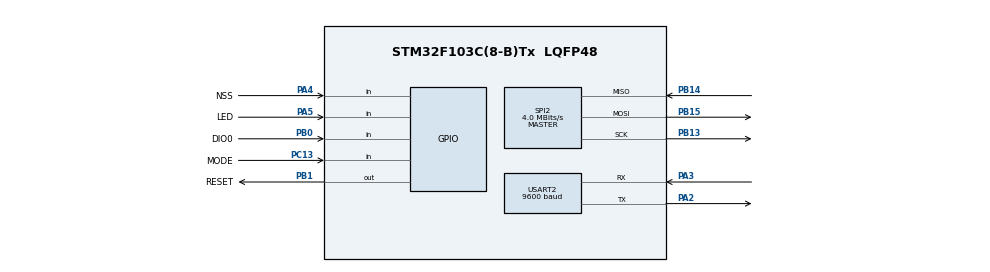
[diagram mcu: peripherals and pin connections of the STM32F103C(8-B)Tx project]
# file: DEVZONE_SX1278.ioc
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Mcu.Family=STM32F1
Mcu.Name=STM32F103C(8-B)Tx
Mcu.Package=LQFP48
NVIC.PriorityGroup=NVIC_PRIORITYGROUP_4
PA13.Mode=Serial_Wire
PA13.Signal=SYS_JTMS-SWDIO
PA14.Mode=Serial_Wire
PA14.Signal=SYS_JTCK-SWCLK
PA2.Mode=Asynchronous
PA2.Signal=USART2_TX
PA3.Mode=Asynchronous
PA3.Signal=USART2_RX
PA4.GPIO_Label=NSS
PA4.Signal=GPIO_Input
PA5.GPIO_Label=LED
PA5.Signal=GPIO_Input
PB0.GPIO_Label=DIO0
PB0.Signal=GPIO_Input
PB1.GPIO_Label=RESET
PB1.Signal=GPIO_Output
PB13.Mode=Full_Duplex_Master
PB13.Signal=SPI2_SCK
PB14.Mode=Full_Duplex_Master
PB14.Signal=SPI2_MISO
PB15.Mode=Full_Duplex_Master
PB15.Signal=SPI2_MOSI
PC13-TAMPER-RTC.GPIO_Label=MODE
PC13-TAMPER-RTC.Signal=GPIO_Input
ProjectManager.HeapSize=0x200
ProjectManager.StackSize=0x400
ProjectManager.TargetToolchain=STM32CubeIDE
RCC.APB1Freq_Value=8000000
RCC.APB2Freq_Value=8000000
SPI2.CalculateBaudRate=4.0 MBits/s
SPI2.Direction=SPI_DIRECTION_2LINES
SPI2.Mode=SPI_MODE_MASTER
SPI2.VirtualType=VM_MASTER
USART2.BaudRate=9600
USART2.VirtualMode=VM_ASYNC
board=custom

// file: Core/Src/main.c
/* USER CODE BEGIN Header */
/**
 ******************************************************************************
 * @file           : main.c
 * @brief          : Main program body
 ******************************************************************************
 * @attention
 *
 * <h2><center>&copy; Copyright (c) 2020 STMicroelectronics.
 * All rights reserved.</center></h2>
 *
 * This software component is licensed by ST under BSD 3-Clause license,
 * the "License"; You may not use this file except in compliance with the
 * License. You may obtain a copy of the License at:
 *                        opensource.org/licenses/BSD-3-Clause
 *
 ******************************************************************************
 */
/* USER CODE END Header */
#include "main.h"

/* USER CODE BEGIN Includes */

#include <stdio.h>
#include "SX1278.h"
#include "string.h"
#include "stdlib.h"

/* USER CODE END Includes */

SPI_HandleTypeDef hspi2;

UART_HandleTypeDef huart2;

/* USER CODE BEGIN PV */
/* Private variables ---------------------------------------------------------*/

/* USER CODE END PV */

void SystemClock_Config(void);
static void MX_GPIO_Init(void);
static void MX_USART2_UART_Init(void);
static void MX_SPI2_Init(void);
/* USER CODE BEGIN PFP */
/* Private function prototypes -----------------------------------------------*/

int _write(int file, char *ptr, int len) {
	int i;
	HAL_UART_Transmit(&huart2, (uint8_t*) ptr, len, 50);
	for (i = 0; i < len; i++) {
		ITM_SendChar(*ptr++);
	}
	return len;
}

/* USER CODE END PFP */

/* USER CODE BEGIN 0 */

SX1278_hw_t SX1278_hw;
SX1278_t SX1278;

int32_t master;
int32_t ret;

uint8_t buffer[512];

int32_t message;
int32_t message_length;
uint32_t temp;

/* USER CODE END 0 */

int main(void)
{

  /* MCU Configuration--------------------------------------------------------*/

  /* Reset of all peripherals, Initializes the Flash interface and the Systick. */
  HAL_Init();

  /* Configure the system clock */
  SystemClock_Config();

  /* Initialize all configured peripherals */
  MX_GPIO_Init();
  MX_USART2_UART_Init();
  MX_SPI2_Init();
  /* USER CODE BEGIN 2 */
	master = HAL_GPIO_ReadPin(MODE_GPIO_Port, MODE_Pin);
	if (master == 1) {
		printf("Mode: Master\r\n");
		HAL_GPIO_WritePin(MODE_GPIO_Port, MODE_Pin, GPIO_PIN_RESET);  // choose Master mode
	} else {
		printf("Mode: Slave\r\n");
		HAL_GPIO_WritePin(MODE_GPIO_Port, MODE_Pin, GPIO_PIN_SET);    // choose Slave mode
	}

	//initialize LoRa module
	SX1278_hw.dio0.port = DIO0_GPIO_Port;
	SX1278_hw.dio0.pin = DIO0_Pin;
	SX1278_hw.nss.port = NSS_GPIO_Port;
	SX1278_hw.nss.pin = NSS_Pin;
	SX1278_hw.reset.port = RESET_GPIO_Port;
	SX1278_hw.reset.pin = RESET_Pin;
	SX1278_hw.spi = &hspi2;

	SX1278.hw = &SX1278_hw;

	printf("Configuring LoRa module\r\n");
	SX1278_init(&SX1278, 434000000, SX1278_POWER_17DBM, SX1278_LORA_SF_7,
	SX1278_LORA_BW_125KHZ, SX1278_LORA_CR_4_5, SX1278_LORA_CRC_EN, 10);
	printf("Done configuring LoRaModule\r\n");
/*
	if (master == 1) {
		ret = SX1278_LoRaEntryTx(&SX1278, 16, 2000);
		HAL_GPIO_WritePin(LED_GPIO_Port, LED_Pin, GPIO_PIN_SET);
	} else {
		ret = SX1278_LoRaEntryRx(&SX1278, 16, 2000);
		HAL_GPIO_WritePin(LED_GPIO_Port, LED_Pin, GPIO_PIN_RESET);
	}
*/
  /* USER CODE END 2 */

  /* Infinite loop */
  /* USER CODE BEGIN WHILE */
	while (1) {
		if (master == 1) {
			printf("Master ...\r\n");
			HAL_Delay(1000);
			printf("Sending package...\r\n");

			message_length = sprintf(buffer,(uint32*)temp , message);
			ret = SX1278_LoRaEntryTx(&SX1278, message_length, 2000);
			printf("Entry: %d\r\n", ret);

			printf("Sending %s\r\n", buffer);
			ret = SX1278_LoRaTxPacket(&SX1278, (uint8_t*) buffer,
					message_length, 2000);
			message += 1;

			printf("Transmission: %d\r\n", ret);
			printf("Package sent...\r\n");

		} else {
			printf("Slave ...\r\n");
			HAL_Delay(800);
			printf("Receiving package...\r\n");

			ret = SX1278_LoRaRxPacket(&SX1278);
			printf("Received: %d\r\n", ret);
			if (ret > 0) {
				SX1278_read(&SX1278, (uint8_t*) buffer, ret);
				printf("Content (%d): %s\r\n", ret, buffer);
			}
			printf("Package received ...\r\n");

		}
    /* USER CODE END WHILE */

	}
}

void SystemClock_Config(void)
{
  RCC_OscInitTypeDef RCC_OscInitStruct = {0};
  RCC_ClkInitTypeDef RCC_ClkInitStruct = {0};

  /** Initializes the RCC Oscillators according to the specified parameters
  * in the RCC_OscInitTypeDef structure.
  */
  RCC_OscInitStruct.OscillatorType = RCC_OSCILLATORTYPE_HSI;
  RCC_OscInitStruct.HSIState = RCC_HSI_ON;
  RCC_OscInitStruct.HSICalibrationValue = RCC_HSICALIBRATION_DEFAULT;
  RCC_OscInitStruct.PLL.PLLState = RCC_PLL_NONE;
  if (HAL_RCC_OscConfig(&RCC_OscInitStruct) != HAL_OK)
  {
    Error_Handler();
  }
  /** Initializes the CPU, AHB and APB buses clocks
  */
  RCC_ClkInitStruct.ClockType = RCC_CLOCKTYPE_HCLK|RCC_CLOCKTYPE_SYSCLK
                              |RCC_CLOCKTYPE_PCLK1|RCC_CLOCKTYPE_PCLK2;
  RCC_ClkInitStruct.SYSCLKSource = RCC_SYSCLKSOURCE_HSI;
  RCC_ClkInitStruct.AHBCLKDivider = RCC_SYSCLK_DIV1;
  RCC_ClkInitStruct.APB1CLKDivider = RCC_HCLK_DIV1;
  RCC_ClkInitStruct.APB2CLKDivider = RCC_HCLK_DIV1;

  if (HAL_RCC_ClockConfig(&RCC_ClkInitStruct, FLASH_LATENCY_0) != HAL_OK)
  {
    Error_Handler();
  }
}

static void MX_SPI2_Init(void)
{

  /* SPI2 parameter configuration*/
  hspi2.Instance = SPI2;
  hspi2.Init.Mode = SPI_MODE_MASTER;
  hspi2.Init.Direction = SPI_DIRECTION_2LINES;
  hspi2.Init.DataSize = SPI_DATASIZE_8BIT;
  hspi2.Init.CLKPolarity = SPI_POLARITY_LOW;
  hspi2.Init.CLKPhase = SPI_PHASE_1EDGE;
  hspi2.Init.NSS = SPI_NSS_SOFT;
  hspi2.Init.BaudRatePrescaler = SPI_BAUDRATEPRESCALER_2;
  hspi2.Init.FirstBit = SPI_FIRSTBIT_MSB;
  hspi2.Init.TIMode = SPI_TIMODE_DISABLE;
  hspi2.Init.CRCCalculation = SPI_CRCCALCULATION_DISABLE;
  hspi2.Init.CRCPolynomial = 10;
  if (HAL_SPI_Init(&hspi2) != HAL_OK)
  {
    Error_Handler();
  }

}

static void MX_USART2_UART_Init(void)
{

  huart2.Instance = USART2;
  huart2.Init.BaudRate = 9600;
  huart2.Init.WordLength = UART_WORDLENGTH_8B;
  huart2.Init.StopBits = UART_STOPBITS_1;
  huart2.Init.Parity = UART_PARITY_NONE;
  huart2.Init.Mode = UART_MODE_TX_RX;
  huart2.Init.HwFlowCtl = UART_HWCONTROL_NONE;
  huart2.Init.OverSampling = UART_OVERSAMPLING_16;
  if (HAL_UART_Init(&huart2) != HAL_OK)
  {
    Error_Handler();
  }

}

static void MX_GPIO_Init(void)
{
  GPIO_InitTypeDef GPIO_InitStruct = {0};

  /* GPIO Ports Clock Enable */
  __HAL_RCC_GPIOC_CLK_ENABLE();
  __HAL_RCC_GPIOA_CLK_ENABLE();
  __HAL_RCC_GPIOB_CLK_ENABLE();

  /*Configure GPIO pin Output Level */
  HAL_GPIO_WritePin(RESET_GPIO_Port, RESET_Pin, GPIO_PIN_RESET);

  /*Configure GPIO pin : MODE_Pin */
  GPIO_InitStruct.Pin = MODE_Pin;
  GPIO_InitStruct.Mode = GPIO_MODE_INPUT;
  GPIO_InitStruct.Pull = GPIO_NOPULL;
  HAL_GPIO_Init(MODE_GPIO_Port, &GPIO_InitStruct);

  /*Configure GPIO pins : NSS_Pin LED_Pin */
  GPIO_InitStruct.Pin = NSS_Pin|LED_Pin;
  GPIO_InitStruct.Mode = GPIO_MODE_INPUT;
  GPIO_InitStruct.Pull = GPIO_NOPULL;
  HAL_GPIO_Init(GPIOA, &GPIO_InitStruct);

  /*Configure GPIO pin : DIO0_Pin */
  GPIO_InitStruct.Pin = DIO0_Pin;
  GPIO_InitStruct.Mode = GPIO_MODE_INPUT;
  GPIO_InitStruct.Pull = GPIO_NOPULL;
  HAL_GPIO_Init(DIO0_GPIO_Port, &GPIO_InitStruct);

  /*Configure GPIO pin : RESET_Pin */
  GPIO_InitStruct.Pin = RESET_Pin;
  GPIO_InitStruct.Mode = GPIO_MODE_OUTPUT_PP;
  GPIO_InitStruct.Pull = GPIO_NOPULL;
  GPIO_InitStruct.Speed = GPIO_SPEED_FREQ_LOW;
  HAL_GPIO_Init(RESET_GPIO_Port, &GPIO_InitStruct);

}

void Error_Handler(void)
{
	while (1) {
	}
}

/************************ (C) COPYRIGHT STMicroelectronics *****END OF FILE****/
